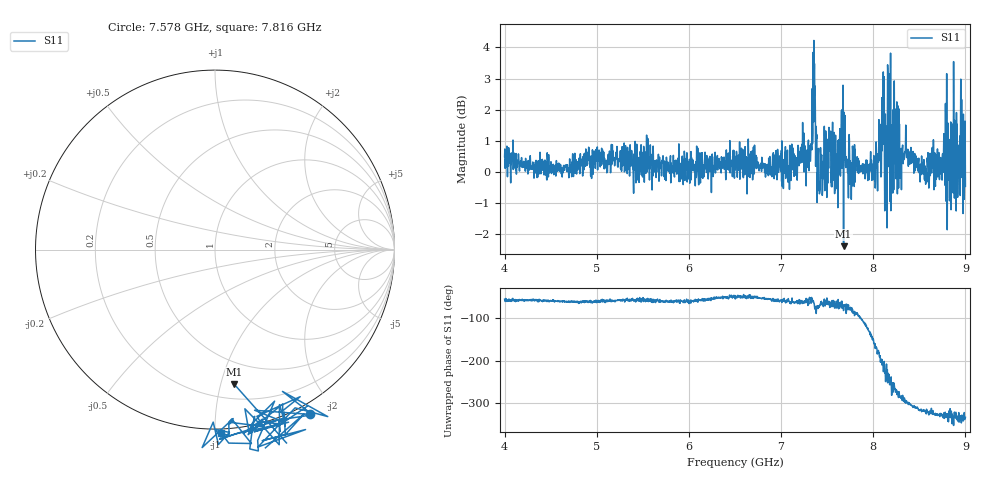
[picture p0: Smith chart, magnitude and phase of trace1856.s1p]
! Created with skrf 1.8.0 (http://scikit-rf.org).
# Hz S RI R 50.0
!freq ReS11 ImS11
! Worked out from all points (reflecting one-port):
!   1601 points, 4 GHz to 9 GHz, reference 50 ohm
!   lowest |S11| = -2.4 dB at 7.678 GHz (marker M1), VSWR 7.29, Z = 15.6 - j55.2 ohm
!   phase of S11 starts at -55 deg and turns -278 deg over the sweep
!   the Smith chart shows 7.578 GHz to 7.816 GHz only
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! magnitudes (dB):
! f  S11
! 4 GHz  0.5
! 4.625 GHz  -0.2
! 5.25 GHz  0.4
! 5.875 GHz  0.1
! 6.5 GHz  0.5
! 7.125 GHz  0.7
! 7.294 GHz  0.9
! 7.347 GHz  3.8
! 7.362 GHz  3.5
! 7.4 GHz  -0.3
! 7.416 GHz  -0.7
! 7.509 GHz  0.8
! 7.591 GHz  1.2
! 7.65 GHz  0.4
! 7.678 GHz  -2.4
! 7.75 GHz  0.3
! 8 GHz  0.0
! 8.062 GHz  1.7
! 8.094 GHz  2.4
! 8.128 GHz  -0.2
! 8.162 GHz  1.8
! 8.197 GHz  0.3
! 8.234 GHz  0.4
! 8.312 GHz  0.7
! 8.375 GHz  0.7
! 8.581 GHz  -0.3
! 8.953 GHz  -0.2
! 9 GHz  -0.5
